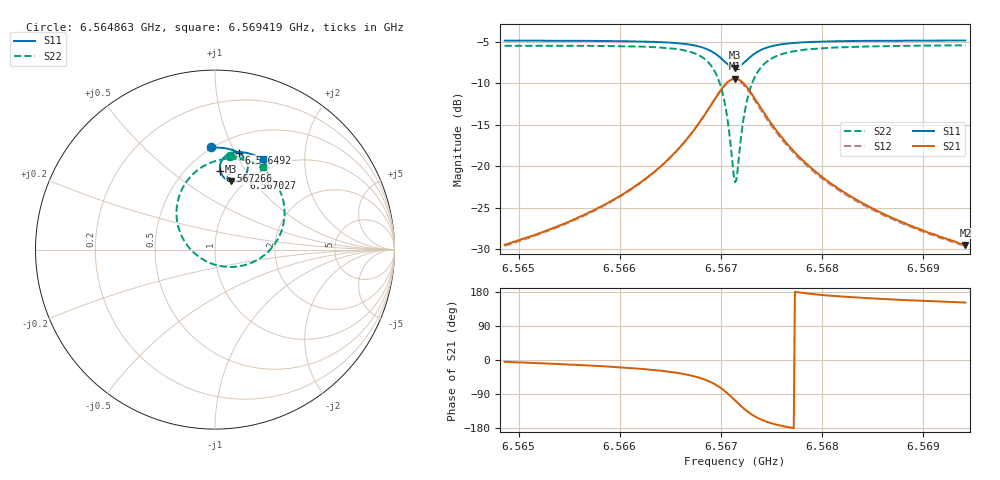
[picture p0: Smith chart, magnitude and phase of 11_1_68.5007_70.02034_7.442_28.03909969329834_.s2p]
#  HZ  S  RI  R  50.00
! Rohde & Schwarz Vector Network Analyzer
! Rohde-Schwarz,ZNB20-2Port,1311601062101988,3.16
! Created: UTC 3/20/2024, 4:49:01 PM
! freq[Hz]  re:S11  im:S11  re:S21  im:S21  re:S12  im:S12  re:S22  im:S22
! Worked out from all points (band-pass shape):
!   401 points, 6.564863 GHz to 6.569419 GHz, reference 50 ohm
!   highest |S21| = -9.48 dB at 6.567141 GHz (marker M1); lowest = -29.5 dB at 6.569419 GHz (marker M2)
!   |S21| within 3 dB of the highest: 6.566913 GHz to 6.567369 GHz (455.9 kHz wide, 0.00694 % of centre)
!   lowest |S11| = -8.2 dB at 6.567141 GHz (marker M3), VSWR 2.28, Z = 43.3 + j38.9 ohm
!   |S11| at or under -10 dB: nowhere
!   |S22| runs from -21.9 to -5.4 dB; largest |S21 - S12| = 0.018
!   S11 on the Smith chart (normalised r, x): 6.564863 GHz: 0.49, +0.83; 6.566492 GHz: 0.67, +1.04; 6.567027 GHz: 0.94, +0.93; 6.567266 GHz: 0.71, +0.77; 6.569419 GHz: 0.86, +1.28
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6.5648626e9  -0.022 0.569  0.0334 -0.00298  0.0329 -0.0034  0.0838 0.5235
6.5656259e9  0.0432 0.5663  0.0486 -0.0118  0.0479 -0.0123  0.1642 0.5037
6.5660474e9  0.0834 0.559  0.0645 -0.0236  0.0635 -0.0243  0.222 0.478
6.5663891e9  0.1211 0.5453  0.0863 -0.0456  0.0851 -0.0466  0.2855 0.4329
6.5664917e9  0.1339 0.538  0.0954 -0.0575  0.0941 -0.0588  0.3093 0.4092
6.5666967e9  0.1619 0.5138  0.1168 -0.0995  0.115 -0.1017  0.362 0.3269
6.5668562e9  0.1807 0.4753  0.1259 -0.1682  0.1224 -0.1722  0.3877 0.1943
6.5669587e9  0.1788 0.4341  0.1041 -0.2407  0.0968 -0.2461  0.3486 0.0558
6.5670271e9  0.1599 0.4022  0.0562 -0.2949  0.0443 -0.299  0.2571 -0.0441
6.5670841e9  0.1283 0.3827  -0.0122 -0.3256  -0.028 -0.325  0.1284 -0.0942
6.5671182e9  0.104 0.3789  -0.0622 -0.3282  -0.0786 -0.3236  0.0373 -0.0929
6.567141e9  0.0872 0.3809  -0.0958 -0.3218  -0.1117 -0.3142  -0.0226 -0.0766
6.5671638e9  0.0713 0.3865  -0.1277 -0.3089  -0.1422 -0.2985  -0.0773 -0.0485
6.5672208e9  0.0409 0.4125  -0.1886 -0.2551  -0.1973 -0.2404  -0.1758 0.0561
6.5672663e9  0.0293 0.4387  -0.213 -0.2034  -0.2169 -0.1885  -0.2099 0.1505
6.5673575e9  0.0321 0.4843  -0.2147 -0.1154  -0.2127 -0.104  -0.1974 0.3042
6.5674942e9  0.0596 0.5222  -0.1773 -0.0426  -0.1734 -0.0364  -0.1167 0.4261
6.5676537e9  0.0919 0.5388  -0.1365 -0.00819  -0.1328 -0.0049  -0.0325 0.4809
6.5679043e9  0.131 0.5442  -0.0957 0.00983  -0.0932 0.0114  0.0565 0.5045
6.568246e9  0.1706 0.5399  -0.066 0.0158  -0.0644 0.0165  0.1311 0.5044
6.5686676e9  0.21 0.529  -0.0467 0.0167  -0.0456 0.0172  0.1919 0.4923
6.5694194e9  0.269 0.5036  -0.0294 0.0159  -0.0288 0.016  0.2676 0.4622
